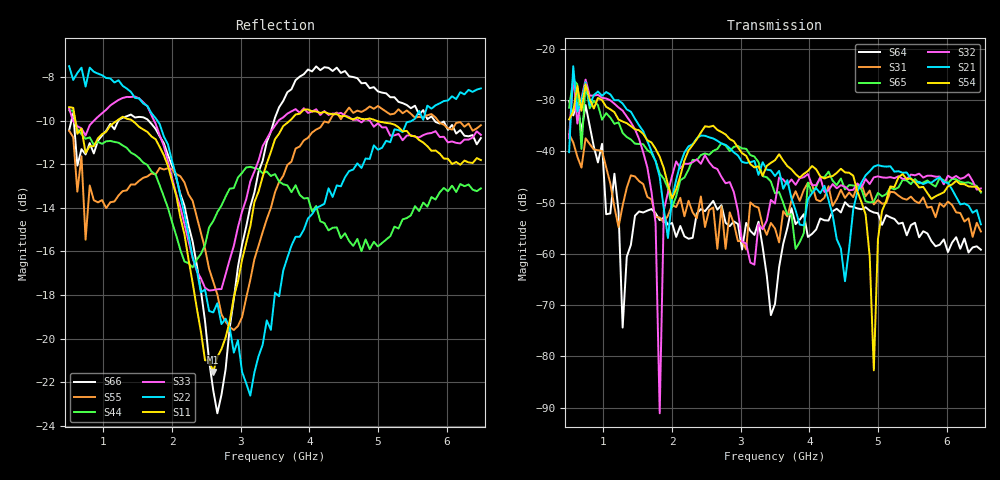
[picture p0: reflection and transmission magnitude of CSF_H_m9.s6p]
!Keysight Technologies,M9804A,MY58100912,A.14.10.03
!Date: Thursday, April 27, 2023 10:28:33
!Correction: S11(C  6-Port  )
!S12(C  6-Port  )
!S13(C  6-Port  )
!S14(C  6-Port  )
!S15(C  6-Port  )
!S16(C  6-Port  )
!S21(C  6-Port  )
!S22(C  6-Port  )
!S23(C  6-Port  )
!S24(C  6-Port  )
!S25(C  6-Port  )
!S26(C  6-Port  )
!S31(C  6-Port  )
!S32(C  6-Port  )
!S33(C  6-Port  )
!S34(C  6-Port  )
!S35(C  6-Port  )
!S36(C  6-Port  )
!S41(C  6-Port  )
!S42(C  6-Port  )
!S43(C  6-Port  )
!S44(C  6-Port  )
!S45(C  6-Port  )
!S46(C  6-Port  )
!S51(C  6-Port  )
!S52(C  6-Port  )
!S53(C  6-Port  )
!S54(C  6-Port  )
!S55(C  6-Port  )
!S56(C  6-Port  )
!S61(C  6-Port  )
!S62(C  6-Port  )
!S63(C  6-Port  )
!S64(C  6-Port  )
!S65(C  6-Port  )
!S66(C  6-Port  )
!S6P File: Measurement: :
# Hz S  RI  R 50
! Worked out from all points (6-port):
!   101 points, 500 MHz to 6.5 GHz, reference 50 ohm
!   strongest paths, dB at 500 MHz, 2 GHz, 3.5 GHz, 5 GHz, 6.5 GHz:
!     S54: -33.8, -49.2, -41.7, -57.1, -47.8
!     S21: -40.2, -49.3, -44.8, -42.7, -54.2
!     S32: -37.4, -44.8, -50.2, -44.9, -47.2
!     S65: -31.5, -51.0, -48.2, -48.1, -48.1
!     S31: -36.7, -50.5, -55.0, -49.5, -55.6
!     S64: -30.2, -54.0, -69.8, -52.1, -59.2
!   lowest |S11| = -21.5 dB at 2.6 GHz (marker M1), VSWR 1.18, Z = 42.5 + j2.17 ohm
!   |S11| at or under -10 dB: 589.7 MHz to 1.197 GHz (607.7 MHz wide, 68 % of centre); 1.419 GHz to 3.716 GHz (2.296 GHz wide, 89.4 % of centre); 4.974 GHz to end of sweep
